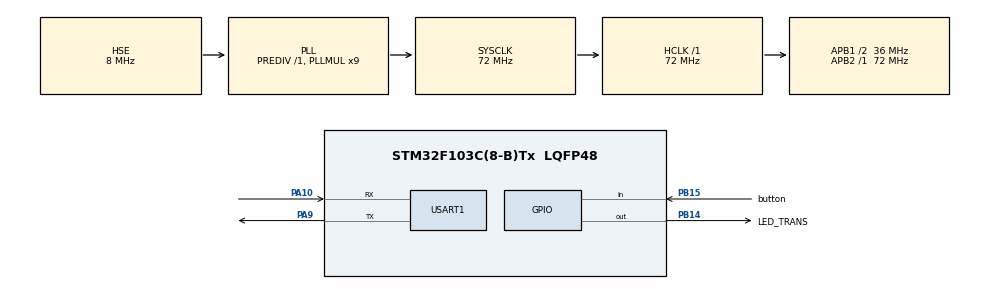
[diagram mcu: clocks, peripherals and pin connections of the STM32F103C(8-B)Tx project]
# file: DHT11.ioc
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Mcu.Family=STM32F1
Mcu.Name=STM32F103C(8-B)Tx
Mcu.Package=LQFP48
NVIC.PriorityGroup=NVIC_PRIORITYGROUP_4
NVIC.USART1_IRQn=true\:0\:0\:false\:false\:true\:true
PA10.Mode=Asynchronous
PA10.Signal=USART1_RX
PA13.Mode=Serial_Wire
PA13.Signal=SYS_JTMS-SWDIO
PA14.Mode=Serial_Wire
PA14.Signal=SYS_JTCK-SWCLK
PA9.Mode=Asynchronous
PA9.Signal=USART1_TX
PB14.GPIO_Label=LED_TRANS
PB14.Signal=GPIO_Output
PB15.GPIO_Label=button
PB15.GPIO_PuPd=GPIO_PULLUP
PB15.Signal=GPIO_Input
PD0-OSC_IN.Mode=HSE-External-Oscillator
PD0-OSC_IN.Signal=RCC_OSC_IN
PD1-OSC_OUT.Mode=HSE-External-Oscillator
PD1-OSC_OUT.Signal=RCC_OSC_OUT
ProjectManager.HeapSize=0x200
ProjectManager.StackSize=0x400
ProjectManager.TargetToolchain=MDK-ARM V5
RCC.AHBFreq_Value=72000000
RCC.APB1CLKDivider=RCC_HCLK_DIV2
RCC.APB1Freq_Value=36000000
RCC.APB1TimFreq_Value=72000000
RCC.APB2Freq_Value=72000000
RCC.APB2TimFreq_Value=72000000
RCC.HCLKFreq_Value=72000000
RCC.PLLMUL=RCC_PLL_MUL9
RCC.PLLSourceVirtual=RCC_PLLSOURCE_HSE
RCC.SYSCLKFreq_VALUE=72000000
RCC.SYSCLKSource=RCC_SYSCLKSOURCE_PLLCLK
RCC.USBFreq_Value=72000000
USART1.VirtualMode=VM_ASYNC
board=custom

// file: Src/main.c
/**
  ******************************************************************************
  * @file           : main.c
  * @brief          : Main program body
  ******************************************************************************
  ** This notice applies to any and all portions of this file
  * that are not between comment pairs USER CODE BEGIN and
  * USER CODE END. Other portions of this file, whether
  * inserted by the user or by software development tools
  * are owned by their respective copyright owners.
  *
  * COPYRIGHT(c) 2019 STMicroelectronics
  *
  * Redistribution and use in source and binary forms, with or without modification,
  * are permitted provided that the following conditions are met:
  *   1. Redistributions of source code must retain the above copyright notice,
  *      this list of conditions and the following disclaimer.
  *   2. Redistributions in binary form must reproduce the above copyright notice,
  *      this list of conditions and the following disclaimer in the documentation
  *      and/or other materials provided with the distribution.
  *   3. Neither the name of STMicroelectronics nor the names of its contributors
  *      may be used to endorse or promote products derived from this software
  *      without specific prior written permission.
  *
  * THIS SOFTWARE IS PROVIDED BY THE COPYRIGHT HOLDERS AND CONTRIBUTORS "AS IS"
  * AND ANY EXPRESS OR IMPLIED WARRANTIES, INCLUDING, BUT NOT LIMITED TO, THE
  * IMPLIED WARRANTIES OF MERCHANTABILITY AND FITNESS FOR A PARTICULAR PURPOSE ARE
  * DISCLAIMED. IN NO EVENT SHALL THE COPYRIGHT HOLDER OR CONTRIBUTORS BE LIABLE
  * FOR ANY DIRECT, INDIRECT, INCIDENTAL, SPECIAL, EXEMPLARY, OR CONSEQUENTIAL
  * DAMAGES (INCLUDING, BUT NOT LIMITED TO, PROCUREMENT OF SUBSTITUTE GOODS OR
  * SERVICES; LOSS OF USE, DATA, OR PROFITS; OR BUSINESS INTERRUPTION) HOWEVER
  * CAUSED AND ON ANY THEORY OF LIABILITY, WHETHER IN CONTRACT, STRICT LIABILITY,
  * OR TORT (INCLUDING NEGLIGENCE OR OTHERWISE) ARISING IN ANY WAY OUT OF THE USE
  * OF THIS SOFTWARE, EVEN IF ADVISED OF THE POSSIBILITY OF SUCH DAMAGE.
  *
  ******************************************************************************
  */
#include "main.h"
#include "stm32f1xx_hal.h"

/* USER CODE BEGIN Includes */
#include "CTR_nrf24l01.h"
#include "dwt_stm32_delay.h"
#include "stdio.h"
#include "string.h"

/* USER CODE END Includes */

UART_HandleTypeDef huart1;

/* USER CODE BEGIN PV */
/* Private variables ---------------------------------------------------------*/
//----------------------khai bao bien cho ham doc nhiet do va do am-----------------------//
uint8_t Rh_byte1, Rh_byte2, Temp_byte1, Temp_byte2;
uint16_t sum, RH, TEMP;
int temp_low, temp_high, rh_low, rh_high;
char temp_char1[2], temp_char2, rh_char1[2], rh_char2;
uint8_t check = 0;
GPIO_InitTypeDef GPIO_InitStruct;

char nhiet_do_va_do_am[32];
char nhiet_do1[32];
char nhiet_do2[32];

char do_am1[32];
char do_am2[32];
//----------------------khai bao bien cho ham doc nhiet do va do am-----------------------//

void set_gpio_output (void)
{
	/*Configure GPIO pin output: PA1 */
  GPIO_InitStruct.Pin = GPIO_PIN_1;
  GPIO_InitStruct.Mode = GPIO_MODE_OUTPUT_PP;
  GPIO_InitStruct.Speed = GPIO_SPEED_FREQ_LOW;
  HAL_GPIO_Init(GPIOA, &GPIO_InitStruct);
}

void set_gpio_input (void)
{
	/*Configure GPIO pin input: PA1 */
  GPIO_InitStruct.Pin = GPIO_PIN_1;
  GPIO_InitStruct.Mode = GPIO_MODE_INPUT;
  GPIO_InitStruct.Pull = GPIO_NOPULL;
  HAL_GPIO_Init(GPIOA, &GPIO_InitStruct);
}

//----------------------khai bao bien cho ham truyen nhan NRF24L01 A-----------------------//
uint8_t chuoi[32];

uint8_t dang_truyen[32]="dang truyen\r\n";
uint8_t dang_nhan[32]="dang nhan\r\n";
uint8_t loi[32]="khong thanh cong\r\n";
uint8_t chuoi_loi[32]="chuoi loi\r\n";
uint8_t ket_thuc[32]="KET THUC\r\n";

char ok[32]="ok\r\n";
char check_1a[32]="yeu cau slave 1a doc du lieu\r\n";
char check_2a[32]="yeu cau slave 2a doc du lieu\r\n";

uint8_t check_lai_lan_cuoi[32]="check lai lan cuoi\r\n";
uint8_t test[32]="start\r\n";
char T[32]=" C   ";
char H[32]=" %\r\n";
char xuong_hang[32]="\r\n";
uint8_t du_lieu_moi_truong[32]="25.5 oC\r\n";
int a=0;
int b=0;
int thoi_gian_check=0;
int thoi_gian_truyen=0;
//----------------------khai bao bien cho ham truyen nhan NRF24L01 A-----------------------//

//----------------------khai bao bien cho ham truyen nhan NRF24L01 B-----------------------//
char bat_bom_1b[32]="bat bom 1b\r\n";
char tat_bom_1b[32]="tat bom 1b\r\n";
char bat_bom_2b[32]="bat bom 2b\r\n";
char tat_bom_2b[32]="tat bom 2b\r\n";
char loi_he_thong[32]="Loi he thong\r\n";
//----------------------khai bao bien cho ham truyen nhan NRF24L01 B-----------------------//

void NRF24L01_Config()
{
	CTR_nrfPinConfig();
}
/* USER CODE END PV */
void SystemClock_Config(void);
static void MX_GPIO_Init(void);
static void MX_USART1_UART_Init(void);

/* USER CODE BEGIN PFP */
/* Private function prototypes -----------------------------------------------*/
//-------------------------tao cac ham cho viec doc nhiet do va do am----------------//
void DHT22_start (void)
{
	set_gpio_output ();  // set the pin as output
	HAL_GPIO_WritePin (GPIOA, GPIO_PIN_1, 0);   // pull the pin low
	DWT_Delay_us (500);   // wait for 500us
	HAL_GPIO_WritePin (GPIOA, GPIO_PIN_1, 1);   // pull the pin high
	DWT_Delay_us (30);   // wait for 30us
	set_gpio_input ();   // set as input
}

void check_response (void)
{
	DWT_Delay_us (40);
	if (!(HAL_GPIO_ReadPin (GPIOA, GPIO_PIN_1)))
	{
		DWT_Delay_us (80);
		if ((HAL_GPIO_ReadPin (GPIOA, GPIO_PIN_1))) check = 1;
	}
	while ((HAL_GPIO_ReadPin (GPIOA, GPIO_PIN_1)));   // wait for the pin to go low
}

uint8_t read_data (void)
{
	uint8_t i,j;
	for (j=0;j<8;j++)
	{
		while (!(HAL_GPIO_ReadPin (GPIOA, GPIO_PIN_1)));   // wait for the pin to go high
		DWT_Delay_us (40);   // wait for 40 us
		if ((HAL_GPIO_ReadPin (GPIOA, GPIO_PIN_1)) == 0)   // if the pin is low
		{
			i&= ~(1<<(7-j));   // write 0
		}
		else i|= (1<<(7-j));  // if the pin is high, write 1
		while ((HAL_GPIO_ReadPin (GPIOA, GPIO_PIN_1)));  // wait for the pin to go low
	}
	return i;
}
//-------------------------tao cac ham cho viec doc nhiet do va do am----------------//

/* USER CODE END PFP */

/* USER CODE BEGIN 0 */
//-----------------ham chuyen doi lieu so sang kieu chuoi----------------//
void UlToStr(char *s, unsigned long bin, unsigned char n)
{
    s += n;
    *s = '\0';

    while (n--)
    {
        *--s = (bin % 10) + '0';
        bin /= 10;
    }
}
//-----------------ham chuyen doi lieu so sang kieu chuoi----------------//

//------------------------------------------------------------------ doc temperature va huminity ---------------------------------------------------//
void read()
{
	DHT22_start ();
	check_response ();
	Rh_byte1 = read_data ();
	Rh_byte2 = read_data ();
	Temp_byte1 = read_data ();
	Temp_byte2 = read_data ();
	sum = read_data();
	//if (sum == (Rh_byte1+Rh_byte2+Temp_byte1+Temp_byte2))
	{
		TEMP = ((Temp_byte1<<8)|Temp_byte2);
		RH = ((Rh_byte1<<8)|Rh_byte2);
	}

	temp_low = TEMP/10;
	temp_high = TEMP%10;

	rh_low = RH/10;
	rh_high = RH%10;

	//----------------------------------------chuyen tu so sang chuoi------------------------------------------------------//
	UlToStr (nhiet_do1, (TEMP/10), 2); //chuyen so sang chuoi
	UlToStr (nhiet_do2, (TEMP%10), 1);
	UlToStr (do_am1, (RH/10), 2);
	UlToStr (do_am2, (RH%10), 1);

	if(300< TEMP && TEMP < 400)
	{
		//HAL_UART_Transmit(&huart1,bat_bom_1b,32,5);
		HAL_UART_Transmit(&huart1,bat_bom_2b,32,5);
		CTR_nrfInit2();
		CTR_nrfSetTX();
		//CTR_nrfSendPacketB(bat_bom_1b);
		CTR_nrfSendPacketB(bat_bom_2b);
		//snprintf(nhiet_do_va_do_am, sizeof(nhiet_do_va_do_am), "%s.%s C  %s.%s %% bat bom 1b\r\n", nhiet_do1,nhiet_do2,do_am1,do_am2);
		snprintf(nhiet_do_va_do_am, sizeof(nhiet_do_va_do_am), "%s.%s C  %s.%s %% bat bom 2b\r\n", nhiet_do1,nhiet_do2,do_am1,do_am2);
	}
	else if(TEMP<=300)
	{
		//HAL_UART_Transmit(&huart1,tat_bom_1b,32,5);
		HAL_UART_Transmit(&huart1,tat_bom_2b,32,5);
		CTR_nrfInit2();
		CTR_nrfSetTX();
		//CTR_nrfSendPacketB(tat_bom_1b);
		CTR_nrfSendPacketB(tat_bom_2b);
		//snprintf(nhiet_do_va_do_am, sizeof(nhiet_do_va_do_am), "%s.%s C  %s.%s %% tat bom 1b\r\n", nhiet_do1,nhiet_do2,do_am1,do_am2);
		snprintf(nhiet_do_va_do_am, sizeof(nhiet_do_va_do_am), "%s.%s C  %s.%s %% tat bom 2b\r\n", nhiet_do1,nhiet_do2,do_am1,do_am2);
	}
	else
	{
		HAL_UART_Transmit(&huart1,loi_he_thong,32,5);
		snprintf(nhiet_do_va_do_am, sizeof(nhiet_do_va_do_am), "Loi he thong\r\n");
	}
	CTR_nrfInit();
	//----------------------------------------chuyen tu so sang chuoi------------------------------------------------------//
}
//------------------------------------------------------------------ doc temperature va huminity ---------------------------------------------------//

/* USER CODE END 0 */

int main(void)
{

  /* MCU Configuration----------------------------------------------------------*/

  /* Reset of all peripherals, Initializes the Flash interface and the Systick. */
  HAL_Init();

  /* Configure the system clock */
  SystemClock_Config();

  /* Initialize all configured peripherals */
  MX_GPIO_Init();
  MX_USART1_UART_Init();
  /* USER CODE BEGIN 2 */
	DWT_Delay_Init ();

	NRF24L01_Config();
	CTR_nrfInit(); // khoi tao
	CTR_nrfSetRX();
	// them doan ma can gui vao buffer gui

  /* USER CODE END 2 */

  /* Infinite loop */
	while (1)
	{

  /* USER CODE BEGIN 3 */

			a=0;
			b=0;
			thoi_gian_check=0;
			//thoi_gian_truyen=0;
			if(CTR_nrfGetPacket(chuoi)==1)
			{
				//int chuoi_check = strcmp(chuoi, check_1a);
				int chuoi_check = strcmp(chuoi, check_2a);
				if(chuoi_check == 0)
				{

					HAL_UART_Transmit(&huart1,chuoi,32,5);//xem chuoi nhan duoc tren pc
					memset(chuoi,0x00,32);//xoa chuoi
					read();

					while(a==0)//doi den khi da nhan duoc chuoi ok
					{
						//truyen du lieu qua cho master
						HAL_UART_Transmit(&huart1,dang_truyen,32,5);
						CTR_nrfSetTX();
						CTR_nrfSendPacket(nhiet_do_va_do_am);
						//cho phan hoi ok tu master
						HAL_Delay(500);

						while(b==0)
						{
							thoi_gian_check+=1;
							HAL_UART_Transmit(&huart1,check_lai_lan_cuoi,32,5);
							memset(chuoi,0x00,32);//xoa chuoi
							CTR_nrfSetRX();
							if(CTR_nrfGetPacket(chuoi)==1)
							{
								int chuoi_ok = strcmp(chuoi, ok);
								if(chuoi_ok == 0)
								{
									HAL_UART_Transmit(&huart1,chuoi,32,5);
									thoi_gian_check=4;
									a=1;//thoat ca vong
									b=1;//thoat che do check lai lan cuoi
									HAL_UART_Transmit(&huart1,ket_thuc,32,5);
								}
								else
								{
									HAL_UART_Transmit(&huart1,chuoi,32,5);
									HAL_UART_Transmit(&huart1,chuoi_loi,32,5);
									thoi_gian_check=6;
								}
								memset(chuoi,0x00,32);//xoa chuoi
							}
							if(thoi_gian_check>5)
							{
								a=1;//thoat ca vong
								b=1;
								HAL_UART_Transmit(&huart1,loi,32,5);
							}
						}
					}
				}
				memset(chuoi,0x00,32);//xoa chuoi
			}
			CTR_nrfSetRX();
		}
  /* USER CODE END 3 */

}

void SystemClock_Config(void)
{

  RCC_OscInitTypeDef RCC_OscInitStruct;
  RCC_ClkInitTypeDef RCC_ClkInitStruct;

    /**Initializes the CPU, AHB and APB busses clocks
    */
  RCC_OscInitStruct.OscillatorType = RCC_OSCILLATORTYPE_HSE;
  RCC_OscInitStruct.HSEState = RCC_HSE_ON;
  RCC_OscInitStruct.HSEPredivValue = RCC_HSE_PREDIV_DIV1;
  RCC_OscInitStruct.HSIState = RCC_HSI_ON;
  RCC_OscInitStruct.PLL.PLLState = RCC_PLL_ON;
  RCC_OscInitStruct.PLL.PLLSource = RCC_PLLSOURCE_HSE;
  RCC_OscInitStruct.PLL.PLLMUL = RCC_PLL_MUL9;
  if (HAL_RCC_OscConfig(&RCC_OscInitStruct) != HAL_OK)
  {
    _Error_Handler(__FILE__, __LINE__);
  }

    /**Initializes the CPU, AHB and APB busses clocks
    */
  RCC_ClkInitStruct.ClockType = RCC_CLOCKTYPE_HCLK|RCC_CLOCKTYPE_SYSCLK
                              |RCC_CLOCKTYPE_PCLK1|RCC_CLOCKTYPE_PCLK2;
  RCC_ClkInitStruct.SYSCLKSource = RCC_SYSCLKSOURCE_PLLCLK;
  RCC_ClkInitStruct.AHBCLKDivider = RCC_SYSCLK_DIV1;
  RCC_ClkInitStruct.APB1CLKDivider = RCC_HCLK_DIV2;
  RCC_ClkInitStruct.APB2CLKDivider = RCC_HCLK_DIV1;

  if (HAL_RCC_ClockConfig(&RCC_ClkInitStruct, FLASH_LATENCY_2) != HAL_OK)
  {
    _Error_Handler(__FILE__, __LINE__);
  }

    /**Configure the Systick interrupt time
    */
  HAL_SYSTICK_Config(HAL_RCC_GetHCLKFreq()/1000);

    /**Configure the Systick
    */
  HAL_SYSTICK_CLKSourceConfig(SYSTICK_CLKSOURCE_HCLK);

  /* SysTick_IRQn interrupt configuration */
  HAL_NVIC_SetPriority(SysTick_IRQn, 0, 0);
}

/* USART1 init function */
static void MX_USART1_UART_Init(void)
{

  huart1.Instance = USART1;
  huart1.Init.BaudRate = 115200;
  huart1.Init.WordLength = UART_WORDLENGTH_8B;
  huart1.Init.StopBits = UART_STOPBITS_1;
  huart1.Init.Parity = UART_PARITY_NONE;
  huart1.Init.Mode = UART_MODE_TX_RX;
  huart1.Init.HwFlowCtl = UART_HWCONTROL_NONE;
  huart1.Init.OverSampling = UART_OVERSAMPLING_16;
  if (HAL_UART_Init(&huart1) != HAL_OK)
  {
    _Error_Handler(__FILE__, __LINE__);
  }

}

/** Configure pins as
        * Analog
        * Input
        * Output
        * EVENT_OUT
        * EXTI
*/
static void MX_GPIO_Init(void)
{

  GPIO_InitTypeDef GPIO_InitStruct;

  /* GPIO Ports Clock Enable */
  __HAL_RCC_GPIOD_CLK_ENABLE();
  __HAL_RCC_GPIOB_CLK_ENABLE();
  __HAL_RCC_GPIOA_CLK_ENABLE();

  /*Configure GPIO pin Output Level */
  HAL_GPIO_WritePin(LED_TRANS_GPIO_Port, LED_TRANS_Pin, GPIO_PIN_RESET);

  /*Configure GPIO pin : LED_TRANS_Pin */
  GPIO_InitStruct.Pin = LED_TRANS_Pin;
  GPIO_InitStruct.Mode = GPIO_MODE_OUTPUT_PP;
  GPIO_InitStruct.Pull = GPIO_NOPULL;
  GPIO_InitStruct.Speed = GPIO_SPEED_FREQ_LOW;
  HAL_GPIO_Init(LED_TRANS_GPIO_Port, &GPIO_InitStruct);

  /*Configure GPIO pin : button_Pin */
  GPIO_InitStruct.Pin = button_Pin;
  GPIO_InitStruct.Mode = GPIO_MODE_INPUT;
  GPIO_InitStruct.Pull = GPIO_PULLUP;
  HAL_GPIO_Init(button_GPIO_Port, &GPIO_InitStruct);

}

void _Error_Handler(char *file, int line)
{
	while(1)
	{
	}
}

/************************ (C) COPYRIGHT STMicroelectronics *****END OF FILE****/
